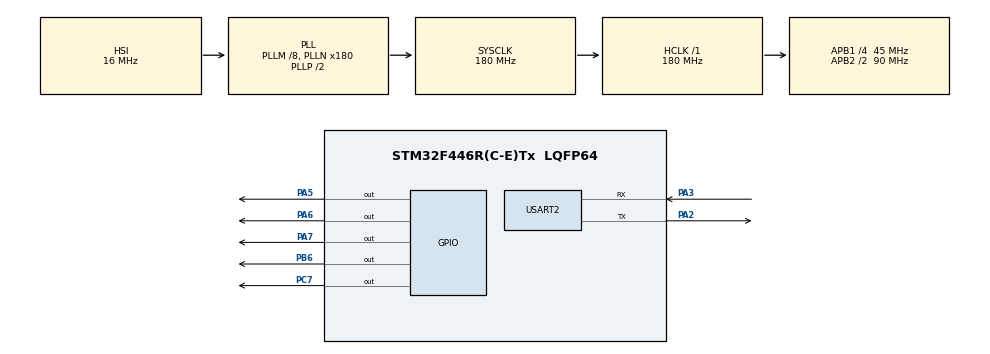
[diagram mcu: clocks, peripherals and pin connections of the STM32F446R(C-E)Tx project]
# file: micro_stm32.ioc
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Dma.Request0=USART2_RX
Dma.Request1=USART2_TX
Dma.USART2_RX.0.Direction=DMA_PERIPH_TO_MEMORY
Dma.USART2_RX.0.FIFOMode=DMA_FIFOMODE_DISABLE
Dma.USART2_RX.0.Instance=DMA1_Stream5
Dma.USART2_RX.0.MemDataAlignment=DMA_MDATAALIGN_BYTE
Dma.USART2_RX.0.MemInc=DMA_MINC_ENABLE
Dma.USART2_RX.0.Mode=DMA_CIRCULAR
Dma.USART2_RX.0.PeriphDataAlignment=DMA_PDATAALIGN_BYTE
Dma.USART2_RX.0.PeriphInc=DMA_PINC_DISABLE
Dma.USART2_RX.0.Priority=DMA_PRIORITY_VERY_HIGH
Dma.USART2_TX.1.Direction=DMA_MEMORY_TO_PERIPH
Dma.USART2_TX.1.FIFOMode=DMA_FIFOMODE_DISABLE
Dma.USART2_TX.1.Instance=DMA1_Stream6
Dma.USART2_TX.1.MemDataAlignment=DMA_MDATAALIGN_BYTE
Dma.USART2_TX.1.MemInc=DMA_MINC_ENABLE
Dma.USART2_TX.1.Mode=DMA_NORMAL
Dma.USART2_TX.1.PeriphDataAlignment=DMA_PDATAALIGN_BYTE
Dma.USART2_TX.1.PeriphInc=DMA_PINC_DISABLE
Dma.USART2_TX.1.Priority=DMA_PRIORITY_VERY_HIGH
FREERTOS.Queues01=Twist_queue,16,uint16_t,0,Dynamic,NULL,NULL
FREERTOS.Tasks01=microros,24,3000,StartDefaultTask,Default,NULL,Static,defaultTaskBuffer,defaultTaskControlBlock;control_task,24,256,StartControl_task,Default,NULL,Dynamic,NULL,NULL
Mcu.Family=STM32F4
Mcu.Name=STM32F446R(C-E)Tx
Mcu.Package=LQFP64
NVIC.DMA1_Stream5_IRQn=true\:5\:0\:false\:false\:true\:true\:false\:true\:true
NVIC.DMA1_Stream6_IRQn=true\:5\:0\:false\:false\:true\:true\:false\:true\:true
NVIC.PriorityGroup=NVIC_PRIORITYGROUP_4
NVIC.TIM1_UP_TIM10_IRQn=true\:15\:0\:false\:false\:true\:false\:false\:true\:true
NVIC.TIM2_IRQn=true\:5\:0\:false\:false\:true\:true\:true\:true\:true
NVIC.TIM3_IRQn=true\:5\:0\:false\:false\:true\:true\:true\:true\:true
NVIC.TIM4_IRQn=true\:5\:0\:false\:false\:true\:true\:true\:true\:true
NVIC.TimeBase=TIM1_UP_TIM10_IRQn
NVIC.TimeBaseIP=TIM1
NVIC.USART2_IRQn=true\:5\:0\:false\:false\:true\:true\:true\:true\:true
PA2.Mode=Asynchronous
PA2.Signal=USART2_TX
PA3.Mode=Asynchronous
PA3.Signal=USART2_RX
PA5.Signal=GPIO_Output
PA6.Signal=GPIO_Output
PA7.Signal=GPIO_Output
PB6.Signal=GPIO_Output
PC7.Signal=GPIO_Output
ProjectManager.HeapSize=0x200
ProjectManager.StackSize=0x400
ProjectManager.TargetToolchain=STM32CubeIDE
RCC.AHBFreq_Value=180000000
RCC.APB1CLKDivider=RCC_HCLK_DIV4
RCC.APB1Freq_Value=45000000
RCC.APB1TimFreq_Value=90000000
RCC.APB2CLKDivider=RCC_HCLK_DIV2
RCC.APB2Freq_Value=90000000
RCC.APB2TimFreq_Value=180000000
RCC.CortexFreq_Value=180000000
RCC.HCLKFreq_Value=180000000
RCC.PLLM=8
RCC.PLLN=180
RCC.SYSCLKFreq_VALUE=180000000
RCC.SYSCLKSource=RCC_SYSCLKSOURCE_PLLCLK
RCC.USBFreq_Value=180000000
RCC.VCOOutputFreq_Value=360000000
TIM2.AutoReloadPreload=TIM_AUTORELOAD_PRELOAD_ENABLE
TIM2.Period=65535
TIM2.Prescaler=89
TIM2.TIM_MasterSlaveMode=TIM_MASTERSLAVEMODE_DISABLE
TIM3.AutoReloadPreload=TIM_AUTORELOAD_PRELOAD_ENABLE
TIM3.Prescaler=89
TIM4.AutoReloadPreload=TIM_AUTORELOAD_PRELOAD_ENABLE
TIM4.Period=1000-1
TIM4.Prescaler=899
USART2.VirtualMode=VM_ASYNC
VP_FREERTOS_VS_CMSIS_V2.Mode=CMSIS_V2
VP_SYS_VS_tim1.Mode=TIM1
VP_TIM2_VS_ClockSourceINT.Mode=Internal
VP_TIM3_VS_ClockSourceINT.Mode=Internal
VP_TIM4_VS_ClockSourceINT.Mode=Internal
board=custom

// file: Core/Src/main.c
/* USER CODE BEGIN Header */
/**
  ******************************************************************************
  * @file           : main.c
  * @brief          : Main program body
  ******************************************************************************
  * @attention
  *
  * Copyright (c) 2023 STMicroelectronics.
  * All rights reserved.
  *
  * This software is licensed under terms that can be found in the LICENSE file
  * in the root directory of this software component.
  * If no LICENSE file comes with this software, it is provided AS-IS.
  *
  ******************************************************************************
  */
/* USER CODE END Header */
#include "main.h"
#include "cmsis_os.h"
#include "dma.h"
#include "tim.h"
#include "usart.h"
#include "gpio.h"

/* USER CODE BEGIN PD */
#define SPR 800
#define TIM_FREQ 1000000
#define ALPHA (2*3.14159/SPR)
#define PI 3.14159
#define wheel_radius 0.1
#define wheel_separation 0.5
/* USER CODE END PD */

/* USER CODE BEGIN PV */
extern float angular_velocity_left;
extern float angular_velocity_right;

float last_angular_velocity_right = 0;
float last_angular_velocity_left = 0;

extern int direction_right;
extern int direction_left;

float wheel_angular_velocity_right;
float wheel_angular_velocity_left;

long step_count_right;
long step_count_left;

long last_step_count_right = 0;
long last_step_count_left = 0;
//uint16_t step_Delay;
/* USER CODE END PV */

void SystemClock_Config(void);
void MX_FREERTOS_Init(void);

int main(void)
{

  /* MCU Configuration--------------------------------------------------------*/

  /* Reset of all peripherals, Initializes the Flash interface and the Systick. */
  HAL_Init();

  /* Configure the system clock */
  SystemClock_Config();

  /* Initialize all configured peripherals */
  MX_GPIO_Init();
  MX_DMA_Init();
  MX_USART2_UART_Init();
  MX_TIM2_Init();
  MX_TIM3_Init();
  MX_TIM4_Init();
  /* USER CODE BEGIN 2 */
  HAL_TIM_Base_Start_IT(&htim2);
  HAL_TIM_Base_Start_IT(&htim3);
  HAL_TIM_Base_Start_IT(&htim4);
  /* USER CODE END 2 */

  /* Init scheduler */
  osKernelInitialize();  /* Call init function for freertos objects (in freertos.c) */
  MX_FREERTOS_Init();

  /* Start scheduler */
  osKernelStart();

  /* We should never get here as control is now taken by the scheduler */
  /* Infinite loop */
  while (1)
  {

  }
}

void SystemClock_Config(void)
{
  RCC_OscInitTypeDef RCC_OscInitStruct = {0};
  RCC_ClkInitTypeDef RCC_ClkInitStruct = {0};

  /** Configure the main internal regulator output voltage
  */
  __HAL_RCC_PWR_CLK_ENABLE();
  __HAL_PWR_VOLTAGESCALING_CONFIG(PWR_REGULATOR_VOLTAGE_SCALE1);

  /** Initializes the RCC Oscillators according to the specified parameters
  * in the RCC_OscInitTypeDef structure.
  */
  RCC_OscInitStruct.OscillatorType = RCC_OSCILLATORTYPE_HSI;
  RCC_OscInitStruct.HSIState = RCC_HSI_ON;
  RCC_OscInitStruct.HSICalibrationValue = RCC_HSICALIBRATION_DEFAULT;
  RCC_OscInitStruct.PLL.PLLState = RCC_PLL_ON;
  RCC_OscInitStruct.PLL.PLLSource = RCC_PLLSOURCE_HSI;
  RCC_OscInitStruct.PLL.PLLM = 8;
  RCC_OscInitStruct.PLL.PLLN = 180;
  RCC_OscInitStruct.PLL.PLLP = RCC_PLLP_DIV2;
  RCC_OscInitStruct.PLL.PLLQ = 2;
  RCC_OscInitStruct.PLL.PLLR = 2;
  if (HAL_RCC_OscConfig(&RCC_OscInitStruct) != HAL_OK)
  {
    Error_Handler();
  }

  /** Activate the Over-Drive mode
  */
  if (HAL_PWREx_EnableOverDrive() != HAL_OK)
  {
    Error_Handler();
  }

  /** Initializes the CPU, AHB and APB buses clocks
  */
  RCC_ClkInitStruct.ClockType = RCC_CLOCKTYPE_HCLK|RCC_CLOCKTYPE_SYSCLK
                              |RCC_CLOCKTYPE_PCLK1|RCC_CLOCKTYPE_PCLK2;
  RCC_ClkInitStruct.SYSCLKSource = RCC_SYSCLKSOURCE_PLLCLK;
  RCC_ClkInitStruct.AHBCLKDivider = RCC_SYSCLK_DIV1;
  RCC_ClkInitStruct.APB1CLKDivider = RCC_HCLK_DIV4;
  RCC_ClkInitStruct.APB2CLKDivider = RCC_HCLK_DIV2;

  if (HAL_RCC_ClockConfig(&RCC_ClkInitStruct, FLASH_LATENCY_5) != HAL_OK)
  {
    Error_Handler();
  }
}

void HAL_TIM_PeriodElapsedCallback(TIM_HandleTypeDef *htim)
{
  if (htim->Instance == TIM1) {
    HAL_IncTick();
  }
  /* USER CODE BEGIN Callback 1 */
  // Timer for stepper motor right
  if (htim->Instance == TIM2) {

	  if (angular_velocity_right != 0)
	  {
		  uint16_t step_delay_right = ALPHA*TIM_FREQ / angular_velocity_right;
		  TIM2->ARR = step_delay_right;
		  HAL_GPIO_TogglePin(GPIOA, GPIO_PIN_6);

		  if (direction_right == 1){
			  step_count_right++;
		  }else if (direction_right == 0){
			  step_count_right--;
		  }
	  }else {
		  TIM2->ARR = 10000;
	  }
  }

  // Timer for stepper motor left
  if (htim->Instance == TIM3) {

	  if(angular_velocity_left != 0)
	  {
		  uint16_t step_delay_left = ALPHA*TIM_FREQ / angular_velocity_left;
		  TIM3->ARR = step_delay_left;
		  HAL_GPIO_TogglePin(GPIOB, GPIO_PIN_6);

		  if (direction_left == 1){
			  step_count_left++;
		  }else if (direction_left == 0){
			  step_count_left--;
		  }
	  }else {
		  TIM3->ARR = 10000;
	  }
  }

  if (htim->Instance == TIM4) {

	  wheel_angular_velocity_right = 2*PI * (step_count_right - last_step_count_right) * wheel_radius / (2*SPR * 0.01);
	  last_step_count_right = step_count_right;

	  wheel_angular_velocity_left = 2*PI * (step_count_left - last_step_count_left) * wheel_radius / (2*SPR * 0.01);
	  last_step_count_left = step_count_left;
  }
  /* USER CODE END Callback 1 */
}

void Error_Handler(void)
{
  __disable_irq();
  while (1)
  {
  }
}

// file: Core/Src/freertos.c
/* USER CODE BEGIN Header */
/**
  ******************************************************************************
  * File Name          : freertos.c
  * Description        : Code for freertos applications
  ******************************************************************************
  * @attention
  *
  * Copyright (c) 2023 STMicroelectronics.
  * All rights reserved.
  *
  * This software is licensed under terms that can be found in the LICENSE file
  * in the root directory of this software component.
  * If no LICENSE file comes with this software, it is provided AS-IS.
  *
  ******************************************************************************
  */
/* USER CODE END Header */

#include "FreeRTOS.h"
#include "task.h"
#include "main.h"
#include "cmsis_os.h"

/* USER CODE BEGIN Includes */
#include <rcl/rcl.h>
#include <rcl/error_handling.h>
#include <rclc/rclc.h>
#include <rclc/executor.h>
#include <uxr/client/transport.h>
#include <rmw_microxrcedds_c/config.h>
#include <rmw_microros/rmw_microros.h>
#include "rosidl_runtime_c/message_type_support_struct.h"

#include <std_msgs/msg/int32.h>
#include <std_msgs/msg/float32.h>
#include <std_msgs/msg/string.h>
#include "geometry_msgs/msg/twist.h"
#include <geometry_msgs/msg/vector3.h>

#include "usart.h"
#include <stdio.h>
#include <math.h>
#include <string.h>
#include <stdbool.h>
/* USER CODE END Includes */

typedef StaticTask_t osStaticThreadDef_t;

/* USER CODE BEGIN PD */
#define ARRAY_LEN 200

#define gear_ratio 10
#define wheel_separation 0.50
#define wheel_radius 0.1
/* USER CODE END PD */

/* USER CODE BEGIN Variables */
float angular_velocity_left_con = 0.0;
float angular_velocity_right_con = 0.0;

float angular_velocity_left = 0.0;
float angular_velocity_right = 0.0;

int direction_right;
int direction_left;

extern float wheel_angular_velocity_right;
extern float wheel_angular_velocity_left;

rcl_ret_t rc;
rcl_publisher_t publisher;
rcl_subscription_t subscriber;

geometry_msgs__msg__Vector3 vector3_subscribe;
geometry_msgs__msg__Vector3 vector3_publish;
geometry_msgs__msg__Twist twist_msg;

/* USER CODE END Variables */
/* Definitions for microros */
osThreadId_t microrosHandle;
uint32_t defaultTaskBuffer[ 3000 ];
osStaticThreadDef_t defaultTaskControlBlock;
const osThreadAttr_t microros_attributes = {
  .name = "microros",
  .cb_mem = &defaultTaskControlBlock,
  .cb_size = sizeof(defaultTaskControlBlock),
  .stack_mem = &defaultTaskBuffer[0],
  .stack_size = sizeof(defaultTaskBuffer),
  .priority = (osPriority_t) osPriorityNormal,
};
/* Definitions for control_task */
osThreadId_t control_taskHandle;
const osThreadAttr_t control_task_attributes = {
  .name = "control_task",
  .stack_size = 256 * 4,
  .priority = (osPriority_t) osPriorityNormal,
};
/* Definitions for Twist_queue */
osMessageQueueId_t Twist_queueHandle;
const osMessageQueueAttr_t Twist_queue_attributes = {
  .name = "Twist_queue"
};

/* USER CODE BEGIN FunctionPrototypes */
bool cubemx_transport_open(struct uxrCustomTransport * transport);
bool cubemx_transport_close(struct uxrCustomTransport * transport);
size_t cubemx_transport_write(struct uxrCustomTransport* transport, const uint8_t * buf, size_t len, uint8_t * err);
size_t cubemx_transport_read(struct uxrCustomTransport* transport, uint8_t* buf, size_t len, int timeout, uint8_t* err);

void * microros_allocate(size_t size, void * state);
void microros_deallocate(void * pointer, void * state);
void * microros_reallocate(void * pointer, size_t size, void * state);
void * microros_zero_allocate(size_t number_of_elements, size_t size_of_element, void * state);

void twist_callback(const void *msgin) {
    const geometry_msgs__msg__Twist *twist_msg = (const geometry_msgs__msg__Twist *)msgin;

    vector3_subscribe.x = twist_msg->linear.x;
    vector3_subscribe.z = twist_msg->angular.z;

    osMessageQueuePut(Twist_queueHandle, &vector3_subscribe, 0, 0);
}

void twist_publish_callback(rcl_timer_t * timer, int64_t last_call_time){
	(void) last_call_time;
	if (timer != NULL){
		// Update the robot position and orientation based on the wheel movements:
		vector3_publish.x = (wheel_angular_velocity_right + wheel_angular_velocity_left) / 2;
		vector3_publish.z = (wheel_angular_velocity_right - wheel_angular_velocity_left) / wheel_separation;
		rc = rcl_publish(&publisher, &vector3_publish, NULL);
	}
}
/* USER CODE END FunctionPrototypes */

void StartDefaultTask(void *argument);
void StartControl_task(void *argument);

void MX_FREERTOS_Init(void); /* (MISRA C 2004 rule 8.1) */

void MX_FREERTOS_Init(void) {

  /* Create the queue(s) */
  /* creation of Twist_queue */
  Twist_queueHandle = osMessageQueueNew (16, 24, &Twist_queue_attributes);

  /* Create the thread(s) */
  /* creation of microros */
  microrosHandle = osThreadNew(StartDefaultTask, NULL, &microros_attributes);

  /* creation of control_task */
  control_taskHandle = osThreadNew(StartControl_task, NULL, &control_task_attributes);

}

void StartDefaultTask(void *argument)
{
  /* USER CODE BEGIN StartDefaultTask */
  /* Infinite loop */

	  // micro-ROS configuration
	  char test_array[ARRAY_LEN];
	  memset(test_array,'z',ARRAY_LEN);

	  rmw_uros_set_custom_transport(
	    true,
	    (void *) &huart2,
	    cubemx_transport_open,
	    cubemx_transport_close,
	    cubemx_transport_write,
	    cubemx_transport_read);

	  rcl_allocator_t freeRTOS_allocator = rcutils_get_zero_initialized_allocator();
	  freeRTOS_allocator.allocate = microros_allocate;
	  freeRTOS_allocator.deallocate = microros_deallocate;
	  freeRTOS_allocator.reallocate = microros_reallocate;
	  freeRTOS_allocator.zero_allocate =  microros_zero_allocate;

	  if (!rcutils_set_default_allocator(&freeRTOS_allocator)) {
	      printf("Error on default allocators (line %d)\n", __LINE__);
	  }

	  // micro-ROS App //
	  // Initialize micro-ROS allocator
	  rcl_allocator_t allocator;
	  allocator = rcl_get_default_allocator();

	  // Initialize support object
	  rclc_support_t support;
	  rclc_support_init(&support, 0, NULL, &allocator);

	  // Create node object
	  rcl_node_t node;
	  rclc_node_init_default(&node, "stm32f446re_node", "", &support);

	  // Create publisher
	  const char * pub_topic_name = "/publish_twist";
	  const rosidl_message_type_support_t * pub_type_support = ROSIDL_GET_MSG_TYPE_SUPPORT(geometry_msgs, msg, Vector3);
	  rclc_publisher_init_default(&publisher, &node, pub_type_support, pub_topic_name);

	  // Create timer
	  rcl_timer_t timer;
	  rclc_timer_init_default(
			&timer,
			&support,
			RCL_MS_TO_NS(100),
			twist_publish_callback);

	  // Create subscriber
	  const char * sub_topic_name = "/cmd_vel";
	  const rosidl_message_type_support_t * sub_type_support = ROSIDL_GET_MSG_TYPE_SUPPORT(geometry_msgs, msg, Twist);
	  rclc_subscription_init_default(&subscriber, &node, sub_type_support, sub_topic_name);

	  // Create executor
	  rclc_executor_t executor = rclc_executor_get_zero_initialized_executor();
	  rclc_executor_init(&executor, &support.context, 3, &allocator);
	  rclc_executor_add_timer(&executor, &timer);
	  rclc_executor_add_subscription(&executor, &subscriber, &twist_msg, &twist_callback, ON_NEW_DATA);

	  // Spin executor to receive messages
	  rclc_executor_prepare(&executor);
	  rclc_executor_spin(&executor);

	  // cleaning Up
	  rc += rcl_subscription_fini(&subscriber, &node);
	  rc += rcl_node_fini(&node);

  /* Infinite loop */
//  for(;;)
//  {
//
//  }
  /* USER CODE END StartDefaultTask */
}

void StartControl_task(void *argument)
{
  /* USER CODE BEGIN StartControl_task */
	geometry_msgs__msg__Vector3 twist_msg;
  /* Infinite loop */
  for(;;)
  {
	  osMessageQueueGet(Twist_queueHandle, &twist_msg, NULL, osWaitForever);
	  angular_velocity_left_con = (twist_msg.x -  (twist_msg.z * wheel_separation) / 2.0) / wheel_radius;
	  angular_velocity_right_con = (twist_msg.x +  (twist_msg.z * wheel_separation) / 2.0) / wheel_radius;

	// Direction of stepper motor left
	if (angular_velocity_left_con >= 0){
		HAL_GPIO_WritePin(GPIOC, GPIO_PIN_7, SET);
		direction_left = 1;
		angular_velocity_left = gear_ratio * angular_velocity_left_con;

	}else if (angular_velocity_left_con < 0){
		HAL_GPIO_WritePin(GPIOC, GPIO_PIN_7, RESET);
		direction_left = 0;
		angular_velocity_left = -1.0 * gear_ratio * angular_velocity_left_con;
	}

	// Direction of stepper motor right
	if (angular_velocity_right_con >= 0){
		HAL_GPIO_WritePin(GPIOA, GPIO_PIN_7, RESET);
		direction_right = 1;
		angular_velocity_right = gear_ratio * angular_velocity_right_con;

	}else if (angular_velocity_right_con < 0){
		HAL_GPIO_WritePin(GPIOA, GPIO_PIN_7, SET);
		direction_right = 0;
		angular_velocity_right = -1.0 * gear_ratio * angular_velocity_right_con;
	}
	osDelay(1);
  }
  /* USER CODE END StartControl_task */
}
